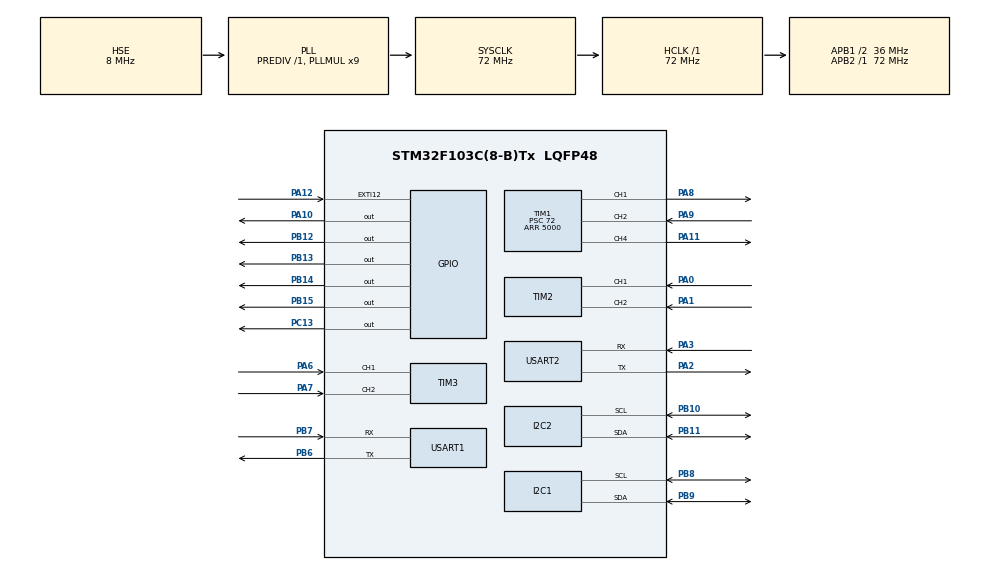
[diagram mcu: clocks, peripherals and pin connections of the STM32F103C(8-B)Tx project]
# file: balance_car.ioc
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I2C1.I2C_Mode=I2C_Fast
I2C2.I2C_Mode=I2C_Fast
Mcu.Family=STM32F1
Mcu.Name=STM32F103C(8-B)Tx
Mcu.Package=LQFP48
NVIC.EXTI15_10_IRQn=true\:2\:0\:true\:false\:true\:true\:true\:true
NVIC.PriorityGroup=NVIC_PRIORITYGROUP_4
NVIC.TIM1_BRK_IRQn=true\:0\:0\:false\:false\:true\:true\:true\:true
NVIC.TIM1_CC_IRQn=true\:1\:0\:true\:false\:true\:true\:true\:true
NVIC.TIM1_TRG_COM_IRQn=true\:0\:0\:false\:false\:true\:true\:true\:true
NVIC.TIM1_UP_IRQn=true\:0\:0\:false\:false\:true\:true\:true\:true
PA0-WKUP.Signal=S_TIM2_CH1_ETR
PA1.Signal=S_TIM2_CH2
PA10.Signal=GPIO_Output
PA11.Signal=S_TIM1_CH4
PA12.Signal=GPXTI12
PA13.Mode=Serial_Wire
PA13.Signal=SYS_JTMS-SWDIO
PA14.Mode=Serial_Wire
PA14.Signal=SYS_JTCK-SWCLK
PA2.Mode=Asynchronous
PA2.Signal=USART2_TX
PA3.Mode=Asynchronous
PA3.Signal=USART2_RX
PA6.Signal=S_TIM3_CH1
PA7.Signal=S_TIM3_CH2
PA8.Signal=S_TIM1_CH1
PA9.Signal=S_TIM1_CH2
PB10.Mode=I2C
PB10.Signal=I2C2_SCL
PB11.Mode=I2C
PB11.Signal=I2C2_SDA
PB12.Signal=GPIO_Output
PB13.Signal=GPIO_Output
PB14.Signal=GPIO_Output
PB15.Signal=GPIO_Output
PB6.Mode=Asynchronous
PB6.Signal=USART1_TX
PB7.Mode=Asynchronous
PB7.Signal=USART1_RX
PB8.Mode=I2C
PB8.Signal=I2C1_SCL
PB9.Mode=I2C
PB9.Signal=I2C1_SDA
PC13-TAMPER-RTC.Signal=GPIO_Output
PD0-OSC_IN.Mode=HSE-External-Oscillator
PD0-OSC_IN.Signal=RCC_OSC_IN
PD1-OSC_OUT.Mode=HSE-External-Oscillator
PD1-OSC_OUT.Signal=RCC_OSC_OUT
ProjectManager.HeapSize=0x200
ProjectManager.StackSize=0x400
ProjectManager.TargetToolchain=SW4STM32
RCC.AHBFreq_Value=72000000
RCC.APB1CLKDivider=RCC_HCLK_DIV2
RCC.APB1Freq_Value=36000000
RCC.APB1TimFreq_Value=72000000
RCC.APB2Freq_Value=72000000
RCC.APB2TimFreq_Value=72000000
RCC.HCLKFreq_Value=72000000
RCC.PLLMUL=RCC_PLL_MUL9
RCC.PLLSourceVirtual=RCC_PLLSOURCE_HSE
RCC.SYSCLKFreq_VALUE=72000000
RCC.SYSCLKSource=RCC_SYSCLKSOURCE_PLLCLK
RCC.USBFreq_Value=72000000
SH.S_TIM1_CH1.0=TIM1_CH1,PWM Generation1 CH1
SH.S_TIM1_CH2.0=TIM1_CH2,Input_Capture2_from_TI2
SH.S_TIM1_CH4.0=TIM1_CH4,PWM Generation4 CH4
SH.S_TIM2_CH1_ETR.0=TIM2_CH1,Encoder_Interface
SH.S_TIM2_CH2.0=TIM2_CH2,Encoder_Interface
SH.S_TIM3_CH1.0=TIM3_CH1,Encoder_Interface
SH.S_TIM3_CH2.0=TIM3_CH2,Encoder_Interface
TIM1.Channel-Input_Capture2_from_TI2=TIM_CHANNEL_2
TIM1.Channel-PWM\ Generation1\ CH1=TIM_CHANNEL_1
TIM1.Channel-PWM\ Generation4\ CH4=TIM_CHANNEL_4
TIM1.Period=5000
TIM1.Prescaler=72
USART1.VirtualMode=VM_ASYNC
USART2.VirtualMode=VM_ASYNC
VP_TIM1_VS_ClockSourceINT.Mode=Internal
board=custom

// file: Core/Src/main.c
/* USER CODE BEGIN Header */
/**
  ******************************************************************************
  * @file           : main.c
  * @brief          : Main program body
  ******************************************************************************
  * @attention
  *
  * Copyright (c) 2023 STMicroelectronics.
  * All rights reserved.
  *
  * This software is licensed under terms that can be found in the LICENSE file
  * in the root directory of this software component.
  * If no LICENSE file comes with this software, it is provided AS-IS.
  *
  ******************************************************************************
  */
/* USER CODE END Header */
#include "main.h"
#include "i2c.h"
#include "tim.h"
#include "usart.h"
#include "gpio.h"

/* USER CODE BEGIN Includes */
#include "stdlib.h"
#include "stdio.h"
#include "string.h"
#include "mpu6050.h"
#include "ssd1306.h"
#include "ssd1306_fonts.h"
#include "wheel.h"
#include "pid.h"
/* USER CODE END Includes */

/* USER CODE BEGIN PV */
MPU6050_t MPU6050;
WHEEL left_wheel;
WHEEL right_wheel;
PID left_wheel_stand_pid;
PID right_wheel_stand_pid;
PID left_wheel_speed_pid;
PID right_wheel_speed_pid;
PID left_wheel_turn_pid;
PID right_wheel_turn_pid;
int left_wheel_pidout;
int right_wheel_pidout;
float angle_offset;
float temp_speed_setpoint;
float speed_setpoint;
float angle_setpoint;
float turn_setpoint;
uint16_t pwm_max_arr;
uint16_t feedforward;
char buf[100];
/* USER CODE END PV */

void SystemClock_Config(void);

int main(void)
{

  /* MCU Configuration--------------------------------------------------------*/

  /* Reset of all peripherals, Initializes the Flash interface and the Systick. */
  HAL_Init();

  /* Configure the system clock */
  SystemClock_Config();

  /* Initialize all configured peripherals */
  MX_GPIO_Init();
  MX_I2C1_Init();
  MX_USART1_UART_Init();
  MX_TIM2_Init();
  MX_TIM3_Init();
  MX_I2C2_Init();
  MX_TIM1_Init();
  MX_USART2_UART_Init();
  /* USER CODE BEGIN 2 */

  /* Init MPU6050 */
  while(MPU6050_Init(&hi2c2) == 1);
  /* Init MPU6050 */

  /* Init SSD1306 */
  ssd1306_Init();
  ssd1306_Fill(Black);
  ssd1306_SetCursor(0, 0);
  ssd1306_WriteString("SSD1306 OK", Font_11x18, White);
  ssd1306_UpdateScreen();
  /* Init SSD1306 */

  /* Init whells */
  left_wheel.encoder_tim = &htim2;
  left_wheel.pwm_tim = &htim1;
  left_wheel.pwm_channel = TIM_CHANNEL_1;
  left_wheel.motorpower1_gpio_port = GPIOB;
  left_wheel.motorpower1_gpio_pin = GPIO_PIN_14;
  left_wheel.motorpower2_gpio_port = GPIOB;
  left_wheel.motorpower2_gpio_pin = GPIO_PIN_15;
  left_wheel.speed = 0;

  right_wheel.encoder_tim = &htim3;
  right_wheel.pwm_tim = &htim1;
  right_wheel.pwm_channel = TIM_CHANNEL_4;
  right_wheel.motorpower1_gpio_port = GPIOB;
  right_wheel.motorpower1_gpio_pin = GPIO_PIN_13;
  right_wheel.motorpower2_gpio_port = GPIOB;
  right_wheel.motorpower2_gpio_pin = GPIO_PIN_12;
  right_wheel.speed = 0;
  /* Init whells */

  pwm_max_arr = __HAL_TIM_GET_AUTORELOAD(&htim1);  // Get PWM max value
  feedforward = pwm_max_arr * 0.00;  // ???
  angle_offset = -2.00f;  // angle offset, based on the mpu6050 placement
  speed_setpoint = 0;  // speed setpoint
  angle_setpoint = 0;  // angle setpoint

  /* Init wheel PID */
  left_wheel_stand_pid = PID_Init(43, 0, 200, 65535, -65535);
  right_wheel_stand_pid = PID_Init(43, 0, 200, 65535, -65535);
  left_wheel_speed_pid = PID_Init(-39, 0, 0, 65535, -65535);
  right_wheel_speed_pid = PID_Init(-39, 0, 0, 65535, -65535);
  left_wheel_turn_pid = PID_Init(0, 0, 0, pwm_max_arr*0.25, -pwm_max_arr*0.25);
  right_wheel_turn_pid = PID_Init(0, 0, 0, pwm_max_arr*0.25, -pwm_max_arr*0.25);
  /* Init wheel PID */

  /* Timers */
  HAL_TIM_Encoder_Start(&htim2, TIM_CHANNEL_ALL);
  HAL_TIM_Encoder_Start(&htim3, TIM_CHANNEL_ALL);
  HAL_TIM_PWM_Start(&htim1, TIM_CHANNEL_1);
  HAL_TIM_PWM_Start(&htim1, TIM_CHANNEL_4);
  /* Timers */

  /* USER CODE END 2 */

  /* Infinite loop */
  /* USER CODE BEGIN WHILE */
  while (1)
  {
    /*
     * Receive data from bluetooth serial and process
     * data format: s-12.00  (will set speed setpoint to -12.00)
     *             t12.00  (will set turn setpoint to 12.00)
     */
    HAL_UART_Receive(&huart2, (uint8_t*)buf, 20, 100);
    if(buf[0] == 's'){
      char *speed_buf = buf + 1;
      temp_speed_setpoint = atoff(speed_buf);
    }
    if(buf[0] == 't'){
      char *turn_buf = buf + 1;
      turn_setpoint = atoff(turn_buf);
    }
    angle_setpoint = temp_speed_setpoint * 0.1f;
    if(temp_speed_setpoint * turn_setpoint < 0){
      speed_setpoint = temp_speed_setpoint + turn_setpoint * 0.03f;
    } else if (temp_speed_setpoint * turn_setpoint > 0){
      speed_setpoint = temp_speed_setpoint - turn_setpoint * 0.03f;
    } else {
      speed_setpoint = temp_speed_setpoint;
    }

    // disable turn PID when stand still
    if(turn_setpoint == 0 && speed_setpoint == 0){
      left_wheel_turn_pid.Kp = 0;
      right_wheel_turn_pid.Kp = 0;
    } else {
      left_wheel_turn_pid.Kp = 6;
      right_wheel_turn_pid.Kp = 6;
    }

    // if angle not a number, reset system
    if(is_nan(MPU6050.KalmanAngleX)){
      NVIC_SystemReset();
    }

    // re-stand when fall
    if(MPU6050.KalmanAngleX > 45){
      HAL_NVIC_DisableIRQ(EXTI15_10_IRQn);
      set_speed(&left_wheel, 600);
      set_speed(&right_wheel, 600);
      HAL_Delay(700);
      HAL_NVIC_SetPriority(EXTI15_10_IRQn, 0, 0);
      HAL_NVIC_EnableIRQ(EXTI15_10_IRQn);
      HAL_Delay(1000);
    } else if (MPU6050.KalmanAngleX < -45){
      HAL_NVIC_DisableIRQ(EXTI15_10_IRQn);
      set_speed(&left_wheel, -600);
      set_speed(&right_wheel, -600);
      HAL_Delay(700);
      HAL_NVIC_SetPriority(EXTI15_10_IRQn, 0, 0);
      HAL_NVIC_EnableIRQ(EXTI15_10_IRQn);
      HAL_Delay(1000);
    }

    show_debug_info();
    HAL_Delay(100);

    /* USER CODE END WHILE */

  }
}

void SystemClock_Config(void)
{
  RCC_OscInitTypeDef RCC_OscInitStruct = {0};
  RCC_ClkInitTypeDef RCC_ClkInitStruct = {0};

  /** Initializes the RCC Oscillators according to the specified parameters
  * in the RCC_OscInitTypeDef structure.
  */
  RCC_OscInitStruct.OscillatorType = RCC_OSCILLATORTYPE_HSE;
  RCC_OscInitStruct.HSEState = RCC_HSE_ON;
  RCC_OscInitStruct.HSEPredivValue = RCC_HSE_PREDIV_DIV1;
  RCC_OscInitStruct.HSIState = RCC_HSI_ON;
  RCC_OscInitStruct.PLL.PLLState = RCC_PLL_ON;
  RCC_OscInitStruct.PLL.PLLSource = RCC_PLLSOURCE_HSE;
  RCC_OscInitStruct.PLL.PLLMUL = RCC_PLL_MUL9;
  if (HAL_RCC_OscConfig(&RCC_OscInitStruct) != HAL_OK)
  {
    Error_Handler();
  }

  /** Initializes the CPU, AHB and APB buses clocks
  */
  RCC_ClkInitStruct.ClockType = RCC_CLOCKTYPE_HCLK|RCC_CLOCKTYPE_SYSCLK
                              |RCC_CLOCKTYPE_PCLK1|RCC_CLOCKTYPE_PCLK2;
  RCC_ClkInitStruct.SYSCLKSource = RCC_SYSCLKSOURCE_PLLCLK;
  RCC_ClkInitStruct.AHBCLKDivider = RCC_SYSCLK_DIV1;
  RCC_ClkInitStruct.APB1CLKDivider = RCC_HCLK_DIV2;
  RCC_ClkInitStruct.APB2CLKDivider = RCC_HCLK_DIV1;

  if (HAL_RCC_ClockConfig(&RCC_ClkInitStruct, FLASH_LATENCY_2) != HAL_OK)
  {
    Error_Handler();
  }
}

/* USER CODE BEGIN 4 */
void show_debug_info(){
  char ssd1306_buf[20];
  ssd1306_Fill(Black);
  ssd1306_SetCursor(0, 0);
  sprintf(ssd1306_buf, "Speed:%.1f", speed_setpoint);
  ssd1306_WriteString(ssd1306_buf, Font_6x8, White);
  sprintf(ssd1306_buf, "Turn:%.1f", turn_setpoint);
  ssd1306_SetCursor(64, 0);
  ssd1306_WriteString(ssd1306_buf, Font_6x8, White);
  sprintf(ssd1306_buf, "l%.0f", left_wheel_stand_pid.last_out);
  ssd1306_SetCursor(0, 10);
  ssd1306_WriteString(ssd1306_buf, Font_6x8, White);
  sprintf(ssd1306_buf, "%.0f", left_wheel_speed_pid.last_out);
  ssd1306_SetCursor(44, 10);
  ssd1306_WriteString(ssd1306_buf, Font_6x8, White);
  sprintf(ssd1306_buf, "%.0f", left_wheel_turn_pid.last_out);
  ssd1306_SetCursor(86, 10);
  ssd1306_WriteString(ssd1306_buf, Font_6x8, White);
  sprintf(ssd1306_buf, "r%.0f", right_wheel_stand_pid.last_out);
  ssd1306_SetCursor(0, 20);
  ssd1306_WriteString(ssd1306_buf, Font_6x8, White);
  sprintf(ssd1306_buf, "%.0f", right_wheel_speed_pid.last_out);
  ssd1306_SetCursor(44, 20);
  ssd1306_WriteString(ssd1306_buf, Font_6x8, White);
  sprintf(ssd1306_buf, "%.0f", right_wheel_turn_pid.last_out);
  ssd1306_SetCursor(86, 20);
  ssd1306_WriteString(ssd1306_buf, Font_6x8, White);
  sprintf(ssd1306_buf, "ls%d", left_wheel.speed);
  ssd1306_SetCursor(0, 30);
  ssd1306_WriteString(ssd1306_buf, Font_6x8, White);
  sprintf(ssd1306_buf, "rs%d", right_wheel.speed);
  ssd1306_SetCursor(44, 30);
  ssd1306_WriteString(ssd1306_buf, Font_6x8, White);
  sprintf(ssd1306_buf, "df%d", left_wheel.speed - right_wheel.speed);
  ssd1306_SetCursor(86, 30);
  ssd1306_WriteString(ssd1306_buf, Font_6x8, White);
  sprintf(ssd1306_buf, "ax%.2f", MPU6050.KalmanAngleX);
  ssd1306_SetCursor(0, 40);
  ssd1306_WriteString(ssd1306_buf, Font_6x8, White);
  sprintf(ssd1306_buf, "ay%.2f", MPU6050.KalmanAngleY);
  ssd1306_SetCursor(44, 40);
  ssd1306_WriteString(ssd1306_buf, Font_6x8, White);
  sprintf(ssd1306_buf, "gz%.2f", MPU6050.Gz - 0.91);
  ssd1306_SetCursor(86, 40);
  ssd1306_WriteString(ssd1306_buf, Font_6x8, White);
  ssd1306_UpdateScreen();
}

uint8_t is_nan(double x){
  return x != x;
}
/* USER CODE END 4 */

void Error_Handler(void)
{
  __disable_irq();
  while (1)
  {
  }
}
